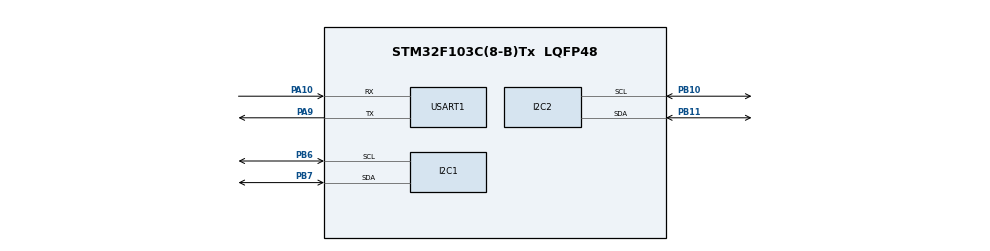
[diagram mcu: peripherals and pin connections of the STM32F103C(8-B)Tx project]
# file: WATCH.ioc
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Mcu.Family=STM32F1
Mcu.Name=STM32F103C(8-B)Tx
Mcu.Package=LQFP48
NVIC.I2C2_ER_IRQn=true\:0\:0\:false\:false\:true\:true\:true\:true
NVIC.PriorityGroup=NVIC_PRIORITYGROUP_4
NVIC.TIM2_IRQn=true\:0\:0\:false\:false\:true\:true\:true\:true
PA10.Mode=Asynchronous
PA10.Signal=USART1_RX
PA13.Mode=Serial_Wire
PA13.Signal=SYS_JTMS-SWDIO
PA14.Mode=Serial_Wire
PA14.Signal=SYS_JTCK-SWCLK
PA9.Mode=Asynchronous
PA9.Signal=USART1_TX
PB10.Mode=I2C
PB10.Signal=I2C2_SCL
PB11.Mode=I2C
PB11.Signal=I2C2_SDA
PB6.Mode=I2C
PB6.Signal=I2C1_SCL
PB7.Mode=I2C
PB7.Signal=I2C1_SDA
PC14-OSC32_IN.Mode=LSE-External-Oscillator
PC14-OSC32_IN.Signal=RCC_OSC32_IN
PC15-OSC32_OUT.Mode=LSE-External-Oscillator
PC15-OSC32_OUT.Signal=RCC_OSC32_OUT
PD0-OSC_IN.Mode=HSE-External-Oscillator
PD0-OSC_IN.Signal=RCC_OSC_IN
PD1-OSC_OUT.Mode=HSE-External-Oscillator
PD1-OSC_OUT.Signal=RCC_OSC_OUT
ProjectManager.HeapSize=0x200
ProjectManager.StackSize=0x400
ProjectManager.TargetToolchain=STM32CubeIDE
RCC.APB1Freq_Value=8000000
RCC.APB2Freq_Value=8000000
RCC.PLLSourceVirtual=RCC_PLLSOURCE_HSE
RCC.RTCClockSelection=RCC_RTCCLKSOURCE_LSE
RCC.SYSCLKSource=RCC_SYSCLKSOURCE_HSE
RCC.USBFreq_Value=16000000
RTC.Date=25
RTC.Hours=16
RTC.Minutes=42
RTC.Month=RTC_MONTH_JULY
RTC.WeekDay=RTC_WEEKDAY_THURSDAY
RTC.Year=24
TIM2.AutoReloadPreload=TIM_AUTORELOAD_PRELOAD_ENABLE
TIM2.Prescaler=120
USART1.VirtualMode=VM_ASYNC
VP_RTC_VS_RTC_Activate.Mode=RTC_Enabled
VP_RTC_VS_RTC_Calendar.Mode=RTC_Calendar
VP_TIM2_VS_ClockSourceINT.Mode=Internal
board=custom

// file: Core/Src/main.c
/* USER CODE BEGIN Header */
/**
  ******************************************************************************
  * @file           : main.c
  * @brief          : Main program body
  ******************************************************************************
  * @attention
  *
  * Copyright (c) 2024 STMicroelectronics.
  * All rights reserved.
  *
  * This software is licensed under terms that can be found in the LICENSE file
  * in the root directory of this software component.
  * If no LICENSE file comes with this software, it is provided AS-IS.
  *
  ******************************************************************************
  */
/* USER CODE END Header */
#include "main.h"

/* USER CODE BEGIN Includes */
#include <stdio.h>
#include <stdbool.h>
#include <math.h>
#include "ssd1306.h"
#include "ssd1306_fonts.h"
#include "sht40.h"
/* USER CODE END Includes */

I2C_HandleTypeDef hi2c1;
I2C_HandleTypeDef hi2c2;

RTC_HandleTypeDef hrtc;

TIM_HandleTypeDef htim2;

UART_HandleTypeDef huart1;

void SystemClock_Config(void);
static void MX_GPIO_Init(void);
static void MX_I2C1_Init(void);
static void MX_RTC_Init(void);
static void MX_TIM2_Init(void);
static void MX_I2C2_Init(void);
static void MX_USART1_UART_Init(void);
/* USER CODE BEGIN PFP */
#define PUTCHAR_PROTOTYPE int __io_putchar(int ch)
/* USER CODE END PFP */

/* USER CODE BEGIN 0 */
bool read_humidity_temperature = false;
#define AHT10_Adress (0x38 << 1)
uint8_t AHT10_RX_Data[6];
uint32_t AHT10_ADC_Raw;
uint32_t AHT10_Temperature;
uint8_t AHT10_TmpHum_Cmd = 0xAC;
int ret;
/* USER CODE END 0 */

int main(void)
{

  /* MCU Configuration--------------------------------------------------------*/

  /* Reset of all peripherals, Initializes the Flash interface and the Systick. */
  HAL_Init();

  /* USER CODE BEGIN Init */
  char tmp[32];
  /* USER CODE END Init */

  /* Configure the system clock */
  SystemClock_Config();

  /* Initialize all configured peripherals */
  MX_GPIO_Init();
  MX_I2C1_Init();
  MX_RTC_Init();
  MX_TIM2_Init();
  MX_I2C2_Init();
  MX_USART1_UART_Init();
  /* USER CODE BEGIN 2 */

  printf("Started!!!!!\r\n");
  HAL_TIM_Base_Start_IT(&htim2);
  ssd1306_Init();
  ssd1306_Fill(Black);
  ssd1306_SetCursor(25, 0);
  ssd1306_UpdateScreen();
  /* USER CODE END 2 */

  /* Infinite loop */
  while (1)
  {

  }
}

void SystemClock_Config(void)
{
  RCC_OscInitTypeDef RCC_OscInitStruct = {0};
  RCC_ClkInitTypeDef RCC_ClkInitStruct = {0};
  RCC_PeriphCLKInitTypeDef PeriphClkInit = {0};

  /** Initializes the RCC Oscillators according to the specified parameters
  * in the RCC_OscInitTypeDef structure.
  */
  RCC_OscInitStruct.OscillatorType = RCC_OSCILLATORTYPE_HSE|RCC_OSCILLATORTYPE_LSE;
  RCC_OscInitStruct.HSEState = RCC_HSE_ON;
  RCC_OscInitStruct.LSEState = RCC_LSE_ON;
  RCC_OscInitStruct.PLL.PLLState = RCC_PLL_NONE;
  if (HAL_RCC_OscConfig(&RCC_OscInitStruct) != HAL_OK)
  {
    Error_Handler();
  }

  /** Initializes the CPU, AHB and APB buses clocks
  */
  RCC_ClkInitStruct.ClockType = RCC_CLOCKTYPE_HCLK|RCC_CLOCKTYPE_SYSCLK
                              |RCC_CLOCKTYPE_PCLK1|RCC_CLOCKTYPE_PCLK2;
  RCC_ClkInitStruct.SYSCLKSource = RCC_SYSCLKSOURCE_HSE;
  RCC_ClkInitStruct.AHBCLKDivider = RCC_SYSCLK_DIV1;
  RCC_ClkInitStruct.APB1CLKDivider = RCC_HCLK_DIV1;
  RCC_ClkInitStruct.APB2CLKDivider = RCC_HCLK_DIV1;

  if (HAL_RCC_ClockConfig(&RCC_ClkInitStruct, FLASH_LATENCY_0) != HAL_OK)
  {
    Error_Handler();
  }
  PeriphClkInit.PeriphClockSelection = RCC_PERIPHCLK_RTC;
  PeriphClkInit.RTCClockSelection = RCC_RTCCLKSOURCE_LSE;
  if (HAL_RCCEx_PeriphCLKConfig(&PeriphClkInit) != HAL_OK)
  {
    Error_Handler();
  }
}

static void MX_I2C1_Init(void)
{

  hi2c1.Instance = I2C1;
  hi2c1.Init.ClockSpeed = 100000;
  hi2c1.Init.DutyCycle = I2C_DUTYCYCLE_2;
  hi2c1.Init.OwnAddress1 = 0;
  hi2c1.Init.AddressingMode = I2C_ADDRESSINGMODE_7BIT;
  hi2c1.Init.DualAddressMode = I2C_DUALADDRESS_DISABLE;
  hi2c1.Init.OwnAddress2 = 0;
  hi2c1.Init.GeneralCallMode = I2C_GENERALCALL_DISABLE;
  hi2c1.Init.NoStretchMode = I2C_NOSTRETCH_DISABLE;
  if (HAL_I2C_Init(&hi2c1) != HAL_OK)
  {
    Error_Handler();
  }

}

static void MX_I2C2_Init(void)
{

  hi2c2.Instance = I2C2;
  hi2c2.Init.ClockSpeed = 100000;
  hi2c2.Init.DutyCycle = I2C_DUTYCYCLE_2;
  hi2c2.Init.OwnAddress1 = 0;
  hi2c2.Init.AddressingMode = I2C_ADDRESSINGMODE_7BIT;
  hi2c2.Init.DualAddressMode = I2C_DUALADDRESS_DISABLE;
  hi2c2.Init.OwnAddress2 = 0;
  hi2c2.Init.GeneralCallMode = I2C_GENERALCALL_DISABLE;
  hi2c2.Init.NoStretchMode = I2C_NOSTRETCH_DISABLE;
  if (HAL_I2C_Init(&hi2c2) != HAL_OK)
  {
    Error_Handler();
  }

}

static void MX_RTC_Init(void)
{

  RTC_TimeTypeDef sTime = {0};
  RTC_DateTypeDef DateToUpdate = {0};

  /** Initialize RTC Only
  */
  hrtc.Instance = RTC;
  hrtc.Init.AsynchPrediv = RTC_AUTO_1_SECOND;
  hrtc.Init.OutPut = RTC_OUTPUTSOURCE_ALARM;
  if (HAL_RTC_Init(&hrtc) != HAL_OK)
  {
    Error_Handler();
  }

  /* USER CODE BEGIN Check_RTC_BKUP */
  if (HAL_RTCEx_BKUPRead(&hrtc, RTC_BKP_DR2) != 0x32F2)
  {
	  /* Battery is abcent. Set first time */
	  // Clear Backup registor : recover to current RTC information
	  sTime.Hours = 0x00;
	  sTime.Minutes = 0x00;
	  sTime.Seconds = 0x00;
	  // Set to Time/Date from current Time/Date
	  if (HAL_RTC_SetTime(&hrtc, &sTime, RTC_FORMAT_BCD) != HAL_OK)
	  {
	    Error_Handler();
	  }

	  DateToUpdate.WeekDay = RTC_WEEKDAY_FRIDAY;
	  DateToUpdate.Month = RTC_MONTH_JULY;
	  DateToUpdate.Date = 0x26;
	  DateToUpdate.Year = 0x24;

	  if (HAL_RTC_SetDate(&hrtc, &DateToUpdate, RTC_FORMAT_BCD) != HAL_OK)
	  {
	    Error_Handler();
	  }
	  // Write a data in ad RTC Backup data register
	  HAL_RTCEx_BKUPWrite(&hrtc, RTC_BKP_DR2, 0x32F2);
  }
  else {
  /* USER CODE END Check_RTC_BKUP */

  /** Initialize RTC and set the Time and Date. Battery present. **/

  }

}

static void MX_TIM2_Init(void)
{

  TIM_ClockConfigTypeDef sClockSourceConfig = {0};
  TIM_MasterConfigTypeDef sMasterConfig = {0};

  htim2.Instance = TIM2;
  htim2.Init.Prescaler = 120;
  htim2.Init.CounterMode = TIM_COUNTERMODE_UP;
  htim2.Init.Period = 65535;
  htim2.Init.ClockDivision = TIM_CLOCKDIVISION_DIV1;
  htim2.Init.AutoReloadPreload = TIM_AUTORELOAD_PRELOAD_ENABLE;
  if (HAL_TIM_Base_Init(&htim2) != HAL_OK)
  {
    Error_Handler();
  }
  sClockSourceConfig.ClockSource = TIM_CLOCKSOURCE_INTERNAL;
  if (HAL_TIM_ConfigClockSource(&htim2, &sClockSourceConfig) != HAL_OK)
  {
    Error_Handler();
  }
  sMasterConfig.MasterOutputTrigger = TIM_TRGO_RESET;
  sMasterConfig.MasterSlaveMode = TIM_MASTERSLAVEMODE_DISABLE;
  if (HAL_TIMEx_MasterConfigSynchronization(&htim2, &sMasterConfig) != HAL_OK)
  {
    Error_Handler();
  }

}

static void MX_USART1_UART_Init(void)
{

  huart1.Instance = USART1;
  huart1.Init.BaudRate = 115200;
  huart1.Init.WordLength = UART_WORDLENGTH_8B;
  huart1.Init.StopBits = UART_STOPBITS_1;
  huart1.Init.Parity = UART_PARITY_NONE;
  huart1.Init.Mode = UART_MODE_TX_RX;
  huart1.Init.HwFlowCtl = UART_HWCONTROL_NONE;
  huart1.Init.OverSampling = UART_OVERSAMPLING_16;
  if (HAL_UART_Init(&huart1) != HAL_OK)
  {
    Error_Handler();
  }

}

static void MX_GPIO_Init(void)
{

  /* GPIO Ports Clock Enable */
  __HAL_RCC_GPIOC_CLK_ENABLE();
  __HAL_RCC_GPIOD_CLK_ENABLE();
  __HAL_RCC_GPIOB_CLK_ENABLE();
  __HAL_RCC_GPIOA_CLK_ENABLE();

}

/* USER CODE BEGIN 4 */
PUTCHAR_PROTOTYPE
{
  /* Place your implementation of fputc here */
  /* e.g. write a character to the USART1 and Loop until the end of transmission */
  HAL_UART_Transmit(&huart1, (uint8_t *)&ch, 1, 0xFFFF);

  return ch;
}

void HAL_TIM_PeriodElapsedCallback(TIM_HandleTypeDef *htim)
{
	if (htim == &htim2) {
		RTC_TimeTypeDef time;
		RTC_DateTypeDef date;
		char tmp[32];
		int ret;
		double AHT10_Temp;

		if (!read_humidity_temperature) {
			HAL_I2C_Master_Transmit(&hi2c2, AHT10_Adress, &AHT10_TmpHum_Cmd, 1, 100);
		} else {
			ret = HAL_I2C_Master_Receive(&hi2c2, AHT10_Adress, (uint8_t*)AHT10_RX_Data, 6, 100);
			AHT10_ADC_Raw = (((uint32_t)AHT10_RX_Data[3] & 15) << 16) | ((uint32_t)AHT10_RX_Data[4] << 8) | AHT10_RX_Data[5];
			AHT10_Temp = (double)(AHT10_ADC_Raw * 200.00 / 1048576.00) - 50.00;
			printf("AHT10_Temp: %02f\r\n", AHT10_Temp);
			AHT10_Temperature = round(AHT10_Temp);
		}
		read_humidity_temperature = !read_humidity_temperature;

		ssd1306_SetCursor(40, 5);
		ssd1306_Fill(Black);

		HAL_RTC_GetTime(&hrtc, &time, RTC_FORMAT_BIN);
		HAL_RTC_GetDate(&hrtc, &date, RTC_FORMAT_BIN);

		snprintf(tmp, sizeof(tmp), "%02d:%02d:%02d", time.Hours, time.Minutes, time.Seconds);
		ssd1306_WriteString(tmp, Font_6x8, White);

		ssd1306_SetCursor(40, 20);

		snprintf(tmp, sizeof(tmp), "%02d.%02d.%02d", date.Date, date.Month, date.Year);
		ssd1306_WriteString(tmp, Font_6x8, White);

		if (ret == HAL_OK) {
			ssd1306_SetCursor(10, 35);
			snprintf(tmp, sizeof(tmp), "Temperature: %.02f", AHT10_Temp);
			ssd1306_WriteString(tmp, Font_6x8, White);
		}

		ssd1306_UpdateScreen();

	}
}
/* USER CODE END 4 */

void Error_Handler(void)
{
  __disable_irq();
  while (1)
  {
  }
}
